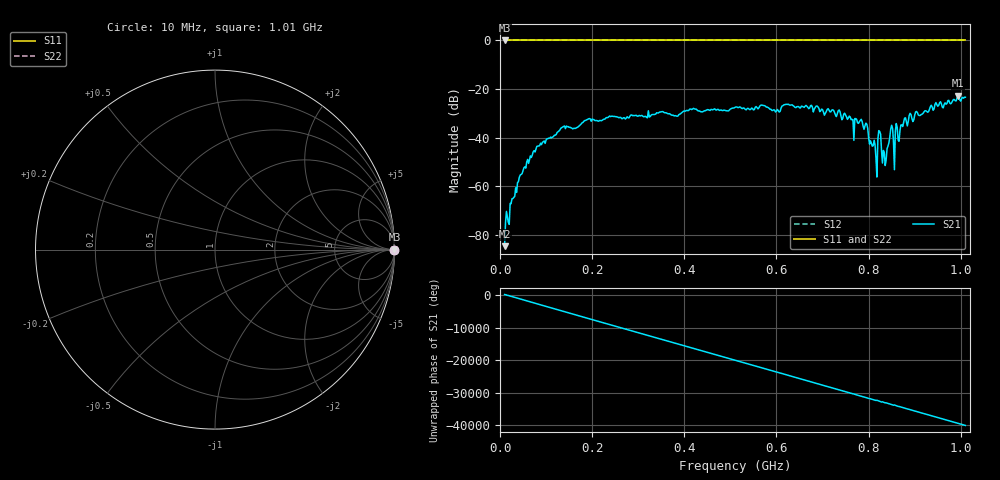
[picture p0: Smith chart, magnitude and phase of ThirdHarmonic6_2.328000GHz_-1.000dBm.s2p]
! 8/17/2025 3:21:12 AM
! C:\ANRITSUVNA\TEMP\TEMP.S2P
! CHANNEL.1
! TR.MEASUREMENT
! RAW.DATA
! RF.CORRECTION.OFF
! AVERAGING.OFF
! IF.BANDWIDTH: 5KHZ
! SWEEPTYPE:  FREQ.SWEEP(Linear)
! Reference Plane Port Info
! PORT:  PORT1  PORT2
! DISTANCE:  0  m  0  m
! TIME:  0  s  0  s
! PHASE.OFFSET:  0  deg.  0  deg.
! LOSS:  0  dB  0  dB
! REF.LOSS:  0  dB  0  dB
! REF.FREQ:  0  Hz  0  Hz
! Power Info
! POWER:  -20  dBm  -20  dBm
! EFF.POWER:  -20  dBm  -20  dBm
! SOURCE.ATTEN:  0  dB  0  dB
! TEST.ATTEN:  0  dB  0  dB
# GHZ S RI R 50.0
! FREQ.GHZ  S11RE  S11IM  S21RE  S21IM  S12RE  S12IM  S22RE  S22IM
!; PortSelection: Port_12
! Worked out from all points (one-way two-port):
!   501 points, 10 MHz to 1.01 GHz, reference 50 ohm
!   highest |S21| = -22.74 dB at 994 MHz (marker M1); lowest = -84.5 dB at 10 MHz (marker M2)
!   lowest |S11| = 0.0 dB at 10 MHz (marker M3)
!   |S11| at or under -10 dB: nowhere
!   |S22| runs from 0.0 to 0.0 dB; largest |S21 - S12| = 1.1
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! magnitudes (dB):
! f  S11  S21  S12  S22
! 10 MHz  0.0  -84.5  0.0  0.0
! 42 MHz  0.0  -56.2  0.0  0.0
! 76 MHz  0.0  -45.8  0.0  0.0
! 136 MHz  0.0  -35.6  0.0  0.0
! 178 MHz  0.0  -33.9  0.0  0.0
! 344 MHz  0.0  -29.8  0.0  0.0
! 382 MHz  0.0  -31.0  0.0  0.0
! 510 MHz  0.0  -27.5  0.0  0.0
! 678 MHz  0.0  -27.4  0.0  0.0
! 784 MHz  0.0  -32.4  0.0  0.0
! 796 MHz  0.0  -34.4  0.0  0.0
! 814 MHz  0.0  -43.0  0.0  0.0
! 824 MHz  0.0  -37.4  0.0  0.0
! 834 MHz  0.0  -46.0  0.0  0.0
! 840 MHz  0.0  -44.5  0.0  0.0
! 844 MHz  0.0  -42.1  0.0  0.0
! 848 MHz  0.0  -36.3  0.0  0.0
! 860 MHz  0.0  -34.1  0.0  0.0
! 874 MHz  0.0  -35.4  0.0  0.0
! 890 MHz  0.0  -29.9  0.0  0.0
! 994 MHz  0.0  -22.7  0.0  0.0
! 1.01 GHz  0.0  -23.3  0.0  0.0
